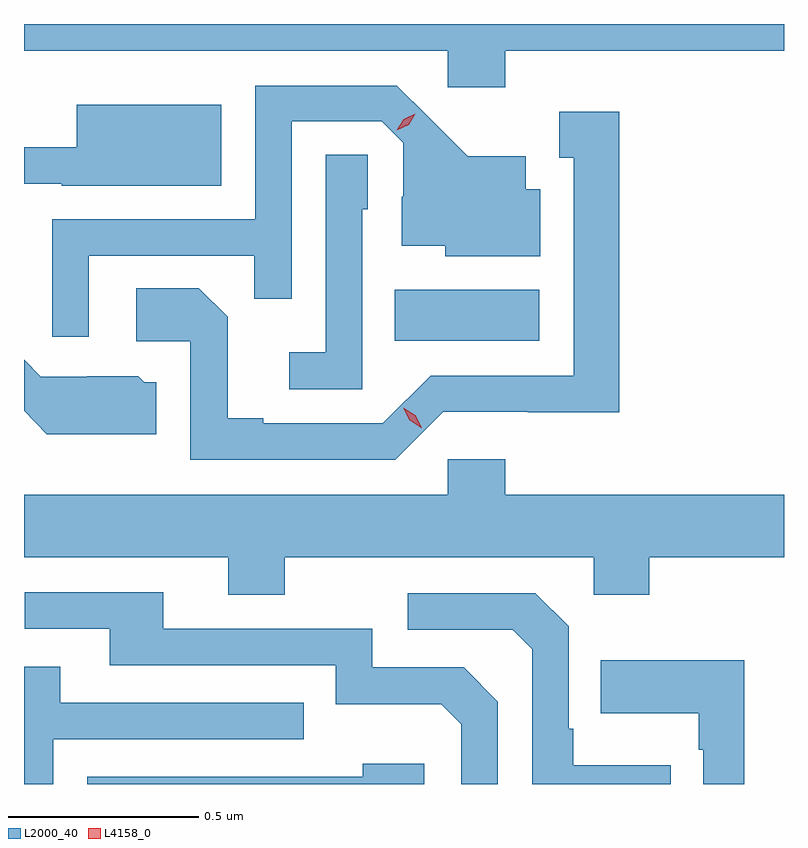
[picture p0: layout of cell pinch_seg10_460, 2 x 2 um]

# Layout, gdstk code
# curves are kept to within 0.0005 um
import gdstk
lib = gdstk.Library(unit=1e-6, precision=1e-09)
def R(c, l, rs):  # rectangles x0, y0, x1, y1
    for r in rs: c.add(gdstk.rectangle(r[:2], r[2:], *l))
def P(c, l, *ps):  # polygons
    for p in ps: c.add(gdstk.Polygon(p, *l))
L2000_40 = (2000, 40)
L4158_0 = (4158, 0)

pinch_seg10_460 = lib.new_cell('pinch_seg10_460')
R(pinch_seg10_460, L2000_40, [(360.922,1296.89,361.303,1297.024)])
P(pinch_seg10_460, L2000_40, [(361.214,1297.652),(361.947,1297.652),(361.947,1297.723),(359.947,1297.723),(359.947,1297.652),(361.062,1297.652),(361.062,1297.557),(361.214,1297.557)],
  [(360.117,1297.113),(360.553,1297.113),(360.553,1297),(360.651,1297),(360.651,1297.467),(360.888,1297.467),(360.945,1297.41),(360.945,1297.268),(360.941,1297.268),(360.941,1297.139),(361.056,1297.139),(361.056,1297.112),(361.306,1297.112),(361.306,1297.288),(361.267,1297.288),(361.267,1297.375),(361.115,1297.375),(360.928,1297.56),(360.555,1297.56),(360.555,1297.209),(360.021,1297.209),(360.021,1296.9),(360.117,1296.9)],
  [(360.466,1297.51),(360.086,1297.51),(360.086,1297.399),(359.947,1297.399),(359.947,1297.302),(360.046,1297.302),(360.046,1297.298),(360.466,1297.298)],
  [(361.05,1296.702),(361.272,1296.702),(361.272,1296.701),(361.513,1296.701),(361.513,1297.492),(361.355,1297.492),(361.355,1297.371),(361.394,1297.371),(361.394,1296.798),(361.017,1296.798),(360.891,1296.672),(360.577,1296.672),(360.577,1296.685),(360.483,1296.685),(360.483,1296.952),(360.407,1297.028),(360.243,1297.028),(360.243,1296.888),(360.384,1296.888),(360.384,1296.576),(360.924,1296.576)],
  [(360.837,1297.236),(360.852,1297.236),(360.852,1297.379),(360.741,1297.379),(360.741,1296.859),(360.645,1296.859),(360.645,1296.762),(360.837,1296.762)],
  [(360.295,1296.78),(360.264,1296.78),(360.248,1296.796),(360.114,1296.796),(360.114,1296.795),(359.991,1296.795),(359.947,1296.839),(359.947,1296.705),(360.007,1296.644),(360.295,1296.644)],
  [(360.633,1296.32),(361.446,1296.32),(361.446,1296.221),(361.593,1296.221),(361.593,1296.32),(361.947,1296.32),(361.947,1296.484),(361.214,1296.484),(361.214,1296.577),(361.062,1296.577),(361.062,1296.484),(359.947,1296.484),(359.947,1296.32),(360.485,1296.32),(360.485,1296.221),(360.633,1296.221)],
  [(361.194,1295.94),(361.104,1296.03),(360.864,1296.03),(360.864,1296.132),(360.313,1296.132),(360.313,1296.228),(359.949,1296.228),(359.949,1296.132),(360.173,1296.132),(360.173,1296.036),(360.768,1296.036),(360.768,1295.933),(361.045,1295.933),(361.098,1295.88),(361.098,1295.723),(361.194,1295.723)],
  [(361.649,1295.773),(361.393,1295.773),(361.393,1295.869),(361.38,1295.869),(361.38,1296.138),(361.293,1296.225),(360.957,1296.225),(360.957,1296.129),(361.233,1296.129),(361.284,1296.078),(361.284,1295.723),(361.649,1295.723)],
  [(361.843,1296.049),(361.465,1296.049),(361.465,1295.909),(361.722,1295.909),(361.722,1295.813),(361.734,1295.813),(361.734,1295.723),(361.843,1295.723)],
  [(360.024,1295.841),(360.683,1295.841),(360.683,1295.937),(360.043,1295.937),(360.043,1296.031),(359.947,1296.031),(359.947,1295.723),(360.024,1295.723)],
  [(361,1295.776),(360.839,1295.776),(360.839,1295.742),(360.114,1295.742),(360.114,1295.723),(361,1295.723)])
P(pinch_seg10_460, L4158_0, [(360.993,1296.66),(360.962,1296.68),(360.945,1296.713),(360.945,1296.713),(360.945,1296.713),(360.977,1296.693),(360.994,1296.66),(360.994,1296.66)],
  [(360.928,1297.444),(360.928,1297.444),(360.946,1297.473),(360.977,1297.487),(360.977,1297.487),(360.977,1297.487),(360.959,1297.458),(360.928,1297.444)])

lib.write_gds('pinch_seg10_460.gds')
